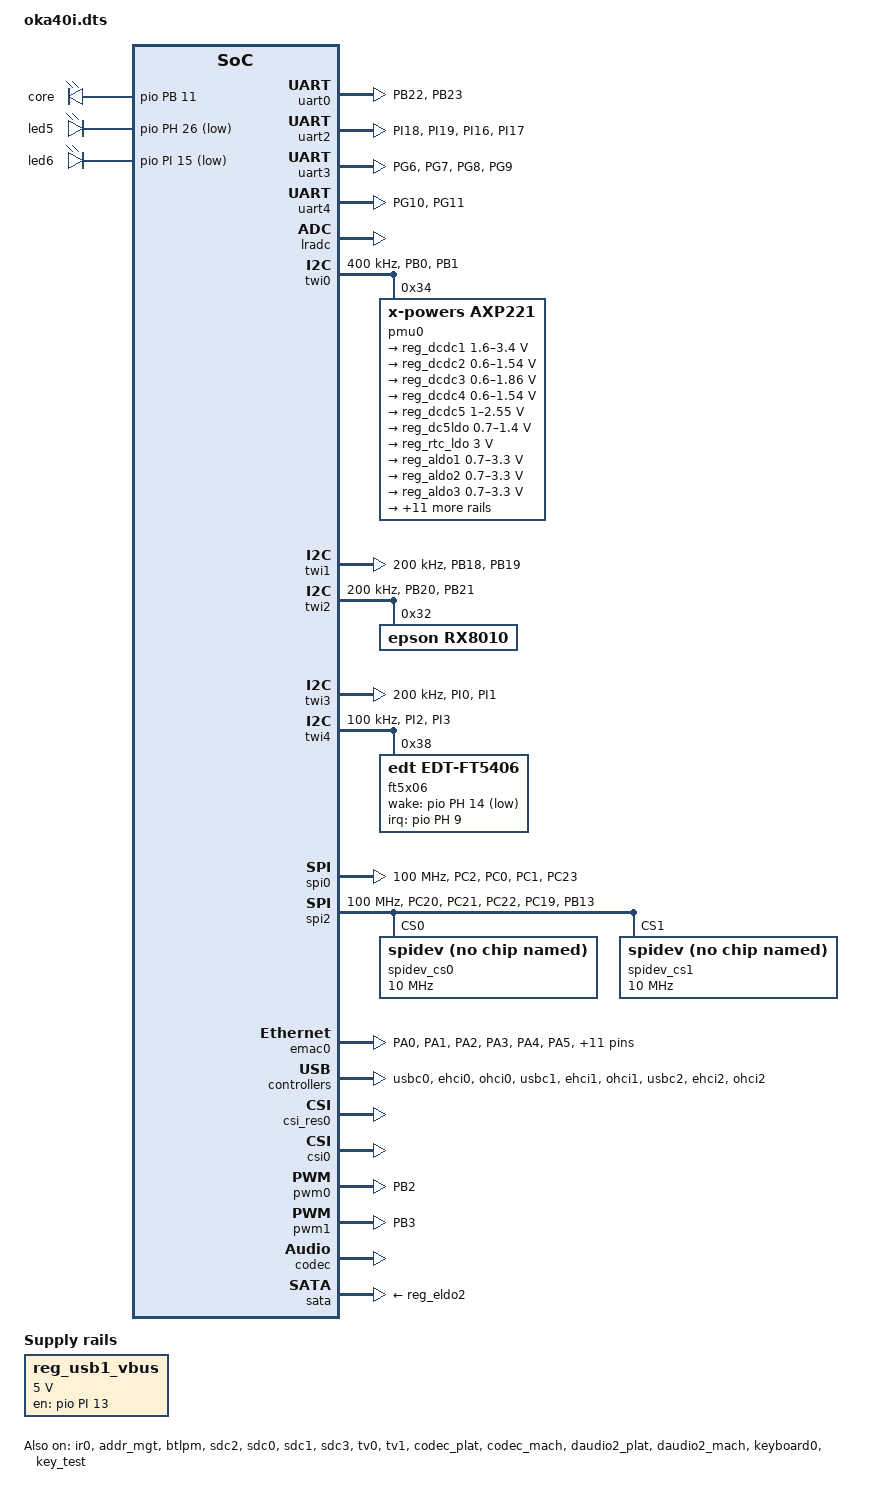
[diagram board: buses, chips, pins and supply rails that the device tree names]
/*
 * Allwinner Technology CO., Ltd. sun8iw11p1 soc board.
 *
 */

/dts-v1/;

#include <dt-bindings/gpio/sun4i-gpio.h>

#include "sun8iw11p1.dtsi"

/{
	aliases {
		pmu0 = &pmu0;
		standby_param = &standby_param; 
	};

	soc@1c00000 {
		card0_boot_para@2 {
		/* Avoid dtc compiling warnings. */
		reg = <0x0 0x2 0x0 0x0>;
		device_type = "card0_boot_para";
		card_ctrl = <0x0>;
		card_high_speed = <0x1>;
		card_line = <0x4>;
		pinctrl-0 = <&sdc0_pins_uboot>;
		};

		card2_boot_para@3 {
			/* Avoid dtc compiling warnings. */
			reg = <0x0 0x3 0x0 0x0>;
			device_type = "card2_boot_para";
			card_ctrl = <0x2>;
			card_high_speed = <0x1>;
			card_line = <0x8>;
			pinctrl-0 = <&sdc2_pins_uboot>;
			sdc_ex_dly_used = <0x2>;
			sdc_io_1v8 = <0x1>;
			sdc_type = "tm4";
		};

		platform@1 {
			eraseflag   = <1>;
			next_work   = <3>;
			debug_mode  = <1>;
		};

		keyboard0:keyboard {
			compatible = "allwinner,keyboard_2000mv";
			reg = <0x0 0x01c24400 0x0 0x400>;
			interrupts = <GIC_SPI 31 IRQ_TYPE_NONE>;
			status = "okay";
			key_cnt = <3>;
			key1 = <590 114>;
			key2 = <890 28>;
			key3 = <2160 102>;
		};

		
		key_test:key_test {
			compatible = "allwinner,key_test";
			reg = <0x0 0x01c24400 0x0 0x400>;
			interrupts = <GIC_SPI 31 IRQ_TYPE_NONE>;
			status = "okay";
			key_cnt = <3>;
			key1 = <590 114>;
			key2 = <890 28>;
			key3 = <2160 102>;
		};


		leds {
			compatible = "gpio-leds";
			status = "okay";
			core {
				label = "core";
				gpios = <&pio PB 11 GPIO_ACTIVE_HIGH>; 
				default-state = "on"; 
				linux,default-trigger = "heartbeat";
			};

			led5 {
				label = "led5";
				gpios = <&pio PH 26 GPIO_ACTIVE_LOW>; 
				default-state = "off"; 
				linux,default-trigger = "gpio";
			};

			led6 {
				label = "led6";
				gpios = <&pio PI 15 GPIO_ACTIVE_LOW>; 
				default-state = "off"; 
				linux,default-trigger = "gpio";
			};
		};
	};

	standby_param: standby_param {
		vdd-cpu = <0x00000002>;
		vdd-sys = <0x00000004>;
		vcc-pll = <0x00000000>;
		osc24m-on = <0x1>;
	};

	reg_usb1_vbus: usb1-vbus {
		compatible = "regulator-fixed";
		gpio = <&pio PI 13 GPIO_ACTIVE_HIGH>;
		regulator-name = "usb1-vbus";
		regulator-min-microvolt = <5000000>;
		regulator-max-microvolt = <5000000>;
		regulator-enable-ramp-delay = <1000>;
		enable-active-high;
	};

};
&pio {
	lcd0_pins_a: lcd0@0 {
		pins = "PD0", "PD1", "PD2", "PD3", "PD4", "PD5", "PD6", "PD7", "PD8", "PD9", "PD10", "PD11", "PD12", "PD13", "PD14", "PD15", "PD16", "PD17", "PD18", "PD19", "PD20", "PD21", "PD22", "PD23", "PD24", "PD25", "PD26", "PD27"; 
		function = "lcd0";
		drvie-strength = <30>;
	};

	lcd0_pins_b: lcd0@1 {
		pins = "PD0", "PD1", "PD2", "PD3", "PD4", "PD5", "PD6", "PD7", "PD8", "PD9", "PD10", "PD11", "PD12", "PD13", "PD14", "PD15", "PD16", "PD17", "PD18", "PD19", "PD20", "PD21", "PD22", "PD23", "PD24", "PD25", "PD26", "PD27"; 
		function = "gpio_in";
	};

	uart0_pins_a: uart0_pins@0 {
		pins = "PB22", "PB23";
		function = "uart0";
	};

	uart0_pins_b: uart0_pins@1 {
		pins = "PB22", "PB23";
		function = "gpio_in";
	};
	uart1_pins_a: uart1_pins@0 {
		pins = "PA10", "PA11", "PA12", "PA13",
					 "PA14", "PA15", "PA16", "PA17";
		function = "uart1";
	};

	uart1_pins_b: uart1_pins@1 {
		pins = "PA10", "PA11", "PA12", "PA13",
					 "PA14", "PA15", "PA16", "PA17";
		function = "gpio_in";
	};

	uart2_pins_a: uart2_pins@0 {
		pins = "PI18", "PI19", "PI16", "PI17";
		function = "uart2";
	};

	uart2_pins_b: uart2_pins@1 {
		pins = "PI18", "PI19", "PI16", "PI17";
		function = "gpio_in";
	};

	uart3_pins_a: uart3_pins@0 {
		pins = "PG6", "PG7", "PG8", "PG9";
		function = "uart3";
	};

	uart3_pins_b: uart3_pins@1 {
		pins = "PG6", "PG7", "PG8", "PG9";
		function = "gpio_in";
	};

	uart4_pins_a: uart4_pins@0 {
		pins = "PG10", "PG11";
		function = "uart4";
	};

	uart4_pins_b: uart4_pins@1 {
		pins = "PG10", "PG11";
		function = "gpio_in";
	};

	uart5_pins_a: uart5_pins@0 {
		pins = "PH6", "PH7";
		function = "uart5";
	};

	uart5_pins_b: uart5_pins@1 {
		pins = "PH6", "PH7";
		function = "gpio_in";
	};

	uart6_pins_a: uart6_pins@0 {
		pins = "PA12", "PA13";
		function = "uart6";
	};

	uart6_pins_b: uart6_pins@1 {
		pins = "PA12", "PA13";
		function = "gpio_in";
	};

	uart7_pins_a: uart7_pins@0 {
		pins ="PI20", "PI21" ;
		function = "uart7";
	};

	uart7_pins_b: uart7_pins@1 {
		pins ="PI20", "PI21" ;
		function = "gpio_in";
	};

	spi0_pins_a: spi0@0 {
		pins = "PC2", "PC0", "PC1";     /*CLK  MOSI  MISO*/
		function = "spi0";
		muxsel = <3>;
		drive-strength = <10>;
	};

	spi0_pins_cs0: spi0@1 {
		pins = "PC23";    /*CS0*/
		function = "spi0";
		muxsel = <3>;
		drive-strength = <10>;
		bias-pull-up;   /* only CS should be pulled up */
	};

	spi0_pins_c: spi0@3 {
		pins = "PC2", "PC0", "PC1", "PC23";
		function = "gpio_in";
		muxsel = <0>;
		drive-strength = <10>;
	};

	spi1_pins_a: spi1@0 {
		pins = "PA1", "PA2", "PA3";     /*CLK  MOSI  MISO*/
		function = "spi1";
		muxsel = <3>;
		drive-strength = <10>;
	};

	spi1_pins_cs: spi1@1 {
		pins = "PA0";    /*CS0*/
		function = "spi1";
		muxsel = <3>;
		drive-strength = <10>;
		bias-pull-up;   /* only CS should be pulled up */
	};

	spi2_pins_a: spi2@0 {
		pins = "PC20", "PC21", "PC22";     /*CLK  MOSI  MISO*/
		function = "spi2";
		muxsel = <3>;
		drive-strength = <10>;
	};

	spi2_pins_cs0: spi2@1 {
		pins = "PC19";    /*CS0*/
		function = "spi2";
		muxsel = <3>;
		drive-strength = <10>;
		bias-pull-up;   /* only CS should be pulled up */
	};

	spi2_pins_cs1: spi2@2 {
		pins = "PB13";    /*CS0*/
		function = "spi2";
		muxsel = <2>;
		drive-strength = <10>;
		bias-pull-up;   /* only CS should be pulled up */
	};

	spi2_pins_c: spi2@3 {
		pins = "PC19", "PC20", "PC21", "PC22", "PB13";
		function = "gpio_in";
		muxsel = <0>;
		drive-strength = <10>;
	};

	sdc0_pins_uboot: sdc0_uboot@0 {
		pins = "PF0", "PF1", "PF2", "PF3","PF4","PF5";
		function = "sdc0";
		muxsel = <3>;
		bias-pull-up;
		drive-strength = <10>;
	};

	sdc2_pins_uboot: sdc2_uboot@0 {
		pins = "PC5", "PC6","PC7", "PC8", "PC9","PC10","PC11","PC12","PC13","PC14","PC15","PC24";
		function = "sdc2";
		muxsel = <3>;
		bias-pull-up;
		drive-strength = <10>;
	};

	sdc0_pins_a: sdc0@0 {
	                    pins = "PF0", "PF1", "PF2",
	                           "PF3", "PF4", "PF5";
	                    function = "sdc0";
	                    drive-strength = <30>;
	                    bias-pull-up;
	            };

	sdc0_pins_b: sdc0@1 {
	        pins = "PF0", "PF1", "PF2",
	               "PF3", "PF4", "PF5";
	        function = "sdc0";
	        drive-strength = <30>;
	        bias-pull-up;
	};

	sdc0_pins_c: sdc0@2 {
	        pins = "PF0", "PF1", "PF2",
	               "PF3", "PF4", "PF5";
	        function = "gpio_in";
	};

	/* TODO: add jtag pin */
	sdc0_pins_d: sdc0@3 {
	        pins = "PF2", "PF4";
	        function = "uart0";
	        drive-strength = <10>;
	        bias-pull-up;
	};

	sdc0_pins_e: sdc0@4 {
	        pins = "PF0", "PF1", "PF3",
	                "PF5";
	        function = "jtag";
	        drive-strength = <10>;
	        bias-pull-up;
	};

	sdc1_pins_a: sdc1@0 {
		pins = "PG1", "PG0", "PG2", "PG3", "PG4", "PG5";
		function = "sdc1";
		drive-strength = <30>;
		bias-pull-up;
	};

	sdc1_pins_b: sdc1@1 {
		pins = "PG1", "PG0", "PG2", "PG3", "PG4", "PG5";
		function = "gpio_in";
		bias-pull-up;
	};

	sdc2_pins_a: sdc2@0 {
		pins = "PC5", "PC6","PC7", "PC8", "PC9","PC10","PC11","PC12","PC13","PC14","PC15","PC24";
		function = "sdc2";
		drive-strength = <30>;
		bias-pull-up;
	};

	sdc2_pins_b: sdc2@1 {
		pins = "PC5", "PC6","PC7", "PC8", "PC9","PC10","PC11","PC12","PC13","PC14","PC15","PC24";
		function = "gpio_in";
		bias-pull-up;
	};

	sdc2_pins_c: sdc2@2 {
		allwinner,pins = "PC5";
		allwinner,function = "sdc2";
		drive-strength = <30>;
		bias-pull-down;
	};

	sdc3_pins_a: sdc3@0 {
		pins = "PI4", "PI5","PI6", "PI7", "PI8","PI9";
		function = "sdc3";
		drive-strength = <30>;
		bias-pull-up;
	};

	sdc3_pins_b: sdc3@1 {
		pins = "PI4", "PI5","PI6", "PI7", "PI8","PI9";
		function = "io_disabled";
		drive-strength = <30>;
		bias-pull-up;
	};

	gmac_pins_a: gmac@0 {
		allwinner,pins = "PA0", "PA1", "PA2", "PA3",
				"PA4", "PA5", "PA6", "PA7",
				"PA8", "PA9", "PA10", "PA11",
				"PA11", "PA12", "PA13", "PA14",
				"PA15", "PA16";
		allwinner,function = "gmac0";
		allwinner,muxsel = <5>;
		allwinner,drive = <3>;
		allwinner,pull = <0>;
	};

	emac_pins_a: emac@0 {
		allwinner,pins = "PA0", "PA1", "PA2", "PA3",
				"PA4", "PA5", "PA6", "PA7",
				"PA8", "PA9", "PA10", "PA11",
				"PA12", "PA13", "PA14",
				"PA15", "PA16";
		allwinner,function = "emac0";
		allwinner,muxsel = <3>;
		allwinner,drive = <3>;
		allwinner,pull = <0>;
	};

	pwm0_pin_a: pwm0@0 {
		pins = "PB2";
		function = "pwm0";
		drive-strength = <10>;
		bias-pull-up;
	};

	pwm0_pin_b: pwm0@1 {
		pins = "PB2";
		function = "gpio_in";
		bias-disable;
	};

	pwm1_pin_a: pwm1@0 {
		pins = "PB3";
		function = "pwm1";
		drive-strength = <10>;
		bias-pull-up;
	};

	pwm1_pin_b: pwm1@1 {
		pins = "PB3";
		function = "gpio_in";
		bias-disable;
	};

	twi0_pins_a: twi0@0 {
		pins = "PB0", "PB1";
		function = "twi0";
		drive-strength = <10>;
		bias-pull-up;
	};

	twi0_pins_b: twi0@1 {
		pins = "PB0", "PB1";
		function = "gpio_in";
	};

	twi1_pins_a: twi1@0 {
		pins = "PB18", "PB19";
		function = "twi1";
		drive-strength = <10>;
		bias-pull-up;
	};

	twi1_pins_b: twi1@1 {
		pins = "PB18", "PB19";
		function = "gpio_in";
	};

	twi2_pins_a: twi2@0 {
		pins = "PB20", "PB21";
		function = "twi2";
		drive-strength = <10>;
		bias-pull-up;
	};

	twi2_pins_b: twi2@1 {
		pins = "PB20", "PB21";
		function = "gpio_in";
	};

	twi3_pins_a: twi3@0 {
		pins = "PI0", "PI1";
		function = "twi3";
		drive-strength = <10>;
		bias-pull-up;
	};

	twi3_pins_b: twi3@1 {
		pins = "PI0", "PI1";
		function = "gpio_in";
	};

	twi4_pins_a: twi4@0 {
		pins = "PI2", "PI3";
		function = "twi4";
		drive-strength = <10>;
		bias-pull-up;
	};

	twi4_pins_b: twi4@1 {
		pins = "PI2", "PI3";
		function = "gpio_in";
	};

	spdif_pins_a: spdif@0 {
		pins = "PB3", "PB12", "PB13";
		function = "spdif0";
		drive-strength = <20>;
		bias-disable;
	};

	spdif_pins_b: spdif_sleep@0 {
		pins = "PB3", "PB12", "PB13";
		function = "io_disabled";
		drive-strength = <20>;
		bias-disable;
	};

	daudio0_pins_a: daudio0@0 {
		pins = "PB5", "PB6", "PB7", "PB8",
		       "PB9", "PB10", "PB11", "PB12";
		function = "i2s0";
		drive-strength = <20>;
		bias-disable;
	};

	daudio0_pins_b: daudio0_sleep@0 {
		pins = "PB5", "PB6", "PB7", "PB8",
		       "PB9", "PB10", "PB11", "PB12";
		function = "io_disabled";
		drive-strength = <20>;
		bias-disable;
	};

	daudio1_pins_a: daudio1@0 {
		pins = "PA9", "PA14", "PA15",
		       "PA16", "PA17";
		function = "i2s1";
		drive-strength = <20>;
		bias-disable;
	};

	daudio1_pins_b: daudio1_sleep@0 {
		pins = "PA9", "PA14", "PA15",
		       "PA16", "PA17";
		function = "io_disabled";
		drive-strength = <20>;
		bias-disable;
	};

	ir0_pins_a: ir0@0 {
		pins = "PB4";
		function = "ir0";
		drive-strength = <10>;
		bias-pull-up;
	};

	ir0_pins_b: ir0@1 {
		pins = "PB4";
		function = "gpio_in";
		bias-disable;
	};

	ir1_pins_a: ir1@0 {
		pins = "PB23";
		function = "ir1";
		drive-strength = <10>;
		bias-pull-up;
	};

	ir1_pins_b: ir1@1 {
		pins = "PB23";
		function = "gpio_in";
		bias-disable;
	};
};

&uart0 {
	pinctrl-names = "default", "sleep";
	pinctrl-0 = <&uart0_pins_a>;
	pinctrl-1 = <&uart0_pins_b>;
	status = "okay";
};

&uart1 {
	pinctrl-names = "default", "sleep";
	pinctrl-0 = <&uart1_pins_a>;
	pinctrl-1 = <&uart1_pins_b>;
	status = "disabled";
};

&uart2 {
	pinctrl-names = "default", "sleep";
	pinctrl-0 = <&uart2_pins_a>;
	pinctrl-1 = <&uart2_pins_b>;
	status = "okay";
};

&uart3 {
	pinctrl-names = "default", "sleep";
	pinctrl-0 = <&uart3_pins_a>;
	pinctrl-1 = <&uart3_pins_b>;
	status = "okay";
};

&uart4 {
	pinctrl-names = "default", "sleep";
	pinctrl-0 = <&uart4_pins_a>;
	pinctrl-1 = <&uart4_pins_b>;
	status = "okay";
};

&uart5 {
	pinctrl-names = "default", "sleep";
	pinctrl-0 = <&uart5_pins_a>;
	pinctrl-1 = <&uart5_pins_b>;
	rs485-enable = <0>;
	rs485-mode = <0>;   /* defalut 0:rx 1:tx */
/*	rs485-mode-pin = <&pio PH 8 GPIO_ACTIVE_LOW>; */
	status = "disabled";
};

&uart6 {
	pinctrl-names = "default", "sleep";
	pinctrl-0 = <&uart6_pins_a>;
	pinctrl-1 = <&uart6_pins_b>;
	status = "disabled";
};

&uart7 {
	pinctrl-names = "default", "sleep";
	pinctrl-0 = <&uart7_pins_a>;
	pinctrl-1 = <&uart7_pins_b>;
	status = "disabled";
};

&lradc{
	status = "okay";
	key_cnt = <5>;
	key0 = <190 115>;
	key1 = <390 114>;
	key2 = <600 139>;
	key3 = <800 28>;
	key4 = <980 102>;
	wakeup-source;
};

&ir0 {
	pinctrl-names = "default", "sleep";
	pinctrl-0 = <&ir0_pins_a>;
	pinctrl-1 = <&ir0_pins_b>;
	status = "okay";
};

&ir1 {
	pinctrl-names = "default", "sleep";
	pinctrl-0 = <&ir1_pins_a>;
	pinctrl-1 = <&ir1_pins_b>;
	status = "disabled";
};

&twi0 {
	clock-frequency = <400000>;
	pinctrl-0 = <&twi0_pins_a>;
	pinctrl-1 = <&twi0_pins_b>;
	pinctrl-names = "default", "sleep";
	no_suspend = <1>;
	status = "okay";
	pmu0: pmu@34 {
		compatible = "x-powers,axp221";
		reg = <0x34>;
		status = "okay";
		interrupts = <0 IRQ_TYPE_LEVEL_LOW>;
		interrupt-parent = <&nmi_intc>;
		x-powers,gpio-vbus-en;
		pmu_reset = <0>;
		pmu_irq_wakeup = <1>;
		pmu_hot_shutdown = <1>;

		wakeup-source;

		powerkey0: powerkey@0 {
			status = "okay";
			compatible = "x-powers,axp2101-pek";
			pmu_powkey_off_time = <6000>;
			pmu_powkey_off_func = <0>;
			pmu_powkey_off_en = <1>;
			pmu_powkey_long_time = <1500>;
			pmu_powkey_on_time = <1000>;
			wakeup_rising;
			wakeup_falling;
		};

		usb_power_supply: usb_power_supply {
			compatible = "x-powers,axp22x-usb-power-supply";
			status = "okay";

			pmu_usbpc_vol = <4400>;
			pmu_usbpc_cur = <500>;
			pmu_usbad_vol = <4000>;
			pmu_usbad_cur = <2500>;
			pmu_usb_typec_used = <0>; 
			wakeup_usb_in;
			wakeup_usb_out;
		};

		ac_power_supply: ac-power-supply {
			compatible = "x-powers,axp22x-ac-power-supply";
			status = "okay";

			pmu_ac_vol = <4000>;
			pmu_ac_cur = <3000>;

			wakeup_ac_in;
			wakeup_ac_out;
		};

		bat_power_supply: bat_power_supply {
			compatible = "x-powers,axp22x-bat-power-supply";
			status = "okay";

			pmu_bat_unused = <1>;
			pmu_chg_ic_temp = <0>;
			pmu_battery_rdc= <100>;
			pmu_battery_cap = <4000>;
			pmu_runtime_chgcur = <300>;
			pmu_suspend_chgcur = <1000>;
			pmu_shutdown_chgcur = <1500>;
			pmu_init_chgvol = <4200>;
			pmu_battery_warning_level1 = <15>;
			pmu_battery_warning_level2 = <0>;
			pmu_chgled_func = <0>;
			pmu_chgled_type = <0>;
			pmu_bat_para1 = <0>;
			pmu_bat_para2 = <0>;
			pmu_bat_para3 = <0>;
			pmu_bat_para4 = <0>;
			pmu_bat_para5 = <0>;
			pmu_bat_para6 = <0>;
			pmu_bat_para7 = <0>;
			pmu_bat_para8 = <0>;
			pmu_bat_para9 = <5>;
			pmu_bat_para10 = <8>;
			pmu_bat_para11 = <9>;
			pmu_bat_para12 = <10>;
			pmu_bat_para13 = <13>;
			pmu_bat_para14 = <16>;
			pmu_bat_para15 = <20>;
			pmu_bat_para16 = <33>;
			pmu_bat_para17 = <41>;
			pmu_bat_para18 = <46>;
			pmu_bat_para19 = <50>;
			pmu_bat_para20 = <53>;
			pmu_bat_para21 = <57>;
			pmu_bat_para22 = <61>;
			pmu_bat_para23 = <67>;
			pmu_bat_para24 = <73>;
			pmu_bat_para25 = <78>;
			pmu_bat_para26 = <84>;
			pmu_bat_para27 = <88>;
			pmu_bat_para28 = <92>;
			pmu_bat_para29 = <93>;
			pmu_bat_para30 = <94>;
			pmu_bat_para31 = <95>;
			pmu_bat_para32 = <100>;

			pmu_bat_temp_enable = <0>;
			pmu_bat_charge_ltf = <2261>;
			pmu_bat_charge_htf = <388>;
			pmu_bat_shutdown_ltf = <3200>;
			pmu_bat_shutdown_htf = <237>;
			pmu_bat_temp_para1 = <7466>;
			pmu_bat_temp_para2 = <4480>;
			pmu_bat_temp_para3 = <3518>;
			pmu_bat_temp_para4 = <2786>;
			pmu_bat_temp_para5 = <2223>;
			pmu_bat_temp_para6 = <1788>;
			pmu_bat_temp_para7 = <1448>;
			pmu_bat_temp_para8 = <969>;
			pmu_bat_temp_para9 = <664>;
			pmu_bat_temp_para10 = <466>;
			pmu_bat_temp_para11 = <393>;
			pmu_bat_temp_para12 = <333>;
			pmu_bat_temp_para13 = <283>;
			pmu_bat_temp_para14 = <242>;
			pmu_bat_temp_para15 = <179>;
			pmu_bat_temp_para16 = <134>;

			wakeup_bat_out;
			/* wakeup_bat_in; */
			/* wakeup_bat_charging; */
			/* wakeup_bat_charge_over; */
			/* wakeup_low_warning1; */
			/* wakeup_low_warning2; */
			/* wakeup_bat_untemp_work; */
			/* wakeup_bat_ovtemp_work; */
			/* wakeup_bat_untemp_chg; */
			/* wakeup_bat_ovtemp_chg; */
		};

		regulator0: regulators@0 {
			reg_dcdc1: dcdc1 {
				regulator-name = "axp22x-dcdc1";
				regulator-min-microvolt = <1600000>;
				regulator-max-microvolt = <3400000>;
				regulator-ramp-delay = <160>;
				regulator-enable-ramp-delay = <1000>;
				regulator-boot-on;
				regulator-always-on;
			};
			reg_dcdc2: dcdc2 {
				regulator-name = "axp22x-dcdc2";
				regulator-min-microvolt = <600000>;
				regulator-max-microvolt = <1540000>;
				regulator-final-delay-us = <1000>;
				regulator-ramp-delay = <160>;
				regulator-enable-ramp-delay = <1000>;
				regulator-boot-on;
				regulator-always-on;
			};
			reg_dcdc3: dcdc3 {
				regulator-name = "axp22x-dcdc3";
				regulator-min-microvolt = <600000>;
				regulator-max-microvolt = <1860000>;
				regulator-ramp-delay = <160>;
				regulator-enable-ramp-delay = <1000>;
				regulator-boot-on;
				regulator-always-on;
			};
			reg_dcdc4: dcdc4 {
				regulator-name = "axp22x-dcdc4";
				regulator-min-microvolt = <600000>;
				regulator-max-microvolt = <1540000>;
				regulator-ramp-delay = <160>;
				regulator-enable-ramp-delay = <1000>;
/*				regulator-boot-on;
				regulator-always-on; */
			};
			reg_dcdc5: dcdc5 {
				regulator-name = "axp22x-dcdc5";
				regulator-min-microvolt = <1000000>;
				regulator-max-microvolt = <2550000>;
				regulator-ramp-delay = <160>;
				regulator-enable-ramp-delay = <1000>;
				regulator-boot-on;
				regulator-always-on;
			};
			reg_dc5ldo: dc5ldo {
				regulator-name = "axp22x-dc5ldo";
				regulator-min-microvolt = <700000>;
				regulator-max-microvolt = <1400000>;
				regulator-ramp-delay = <160>;
				regulator-enable-ramp-delay = <1000>;
/*				regulator-boot-on;
				regulator-always-on; */
			};
			reg_rtc_ldo: rtc_ldo {
				/* RTC_LDO is a fixed, always-on regulator */
				regulator-name = "axp22x-rtc_ldo";
				regulator-min-microvolt = <3000000>;
				regulator-max-microvolt = <3000000>;
				regulator-boot-on;
				regulator-always-on;
			};
			reg_aldo1: aldo1 {
				regulator-name = "axp22x-aldo1";
				regulator-min-microvolt = <700000>;
				regulator-max-microvolt = <3300000>;
				regulator-enable-ramp-delay = <1000>;
			};
			reg_aldo2: aldo2 {
				regulator-name = "axp22x-aldo2";
				regulator-min-microvolt = <700000>;
				regulator-max-microvolt = <3300000>;
				regulator-enable-ramp-delay = <1000>;
				regulator-boot-on;
				regulator-always-on;
			};
			reg_aldo3: aldo3 {
				regulator-name = "axp22x-aldo3";
				regulator-min-microvolt = <700000>;
				regulator-max-microvolt = <3300000>;
				regulator-enable-ramp-delay = <1000>;
				regulator-always-on;
			};
			reg_dldo1: dldo1 {
				regulator-name = "axp22x-dldo1";
				regulator-min-microvolt = <700000>;
				regulator-max-microvolt = <3300000>;
				regulator-enable-ramp-delay = <1000>;
				regulator-always-on;
			};
			reg_dldo2: dldo2 {
				regulator-name = "axp22x-dldo2";
				regulator-min-microvolt = <700000>;
				regulator-max-microvolt = <3300000>;
				regulator-enable-ramp-delay = <1000>;
			};
			reg_dldo3: dldo3 {
				regulator-name = "axp22x-dldo3";
				regulator-min-microvolt = <700000>;
				regulator-max-microvolt = <3300000>;
				regulator-enable-ramp-delay = <1000>;
				regulator-always-on;
				regulator-boot-on;
			};
			reg_dldo4: dldo4 {
				regulator-name = "axp22x-dldo4";
				regulator-min-microvolt = <700000>;
				regulator-max-microvolt = <3300000>;
				regulator-enable-ramp-delay = <1000>;
				regulator-always-on;
				regulator-boot-on;
			};
			reg_eldo1: eldo1 {
				regulator-name = "axp22x-eldo1";
				regulator-min-microvolt = <700000>;
				regulator-max-microvolt = <3300000>;
				regulator-enable-ramp-delay = <1000>;
			};
			reg_eldo2: eldo2 {
				regulator-name = "axp22x-eldo2";
				regulator-min-microvolt = <700000>;
				regulator-max-microvolt = <3300000>;
				regulator-enable-ramp-delay = <1000>;
			};
			reg_eldo3: eldo3 {
				regulator-name = "axp22x-eldo3";
				regulator-min-microvolt = <700000>;
				regulator-max-microvolt = <3300000>;
				regulator-enable-ramp-delay = <1000>;
			};
			reg_ldo_io0: ldo_io0 {
				regulator-name = "axp22x-ldo_io0";
				regulator-min-microvolt = <700000>;
				regulator-max-microvolt = <3300000>;
				regulator-enable-ramp-delay = <1000>;
			};
			reg_ldo_io1: ldo_io1 {
				regulator-name = "axp22x-ldo_io1";
				regulator-min-microvolt = <700000>;
				regulator-max-microvolt = <3300000>;
				regulator-enable-ramp-delay = <1000>;
			};
			reg_dc1sw: dc1sw {
				regulator-name = "axp22x-dc1sw";
				regulator-enable-ramp-delay = <1000>;
				regulator-always-on;
				regulator-boot-on;
			};
			reg_drivevbus: drivevbus {
				regulator-name = "axp22x-drivevbus";
				regulator-enable-ramp-delay = <1000>;
			};
		};

		virtual-dcdc1 {
			compatible = "xpower-vregulator,dcdc1";
			dcdc1-supply = <&reg_dcdc1>;
		};
		virtual-dcdc2 {
			compatible = "xpower-vregulator,dcdc2";
			dcdc2-supply = <&reg_dcdc2>;
		};
		virtual-dcdc3 {
			compatible = "xpower-vregulator,dcdc3";
			dcdc3-supply = <&reg_dcdc3>;
		};
		virtual-dcdc4 {
			compatible = "xpower-vregulator,dcdc4";
			dcdc4-supply = <&reg_dcdc4>;
		};
		virtual-dcdc5 {
			compatible = "xpower-vregulator,dcdc5";
			dcdc5-supply = <&reg_dcdc5>;
		};
		virtual-rtc_ldo {
			compatible = "xpower-vregulator,rtc_ldo";
			rtc_ldo-supply = <&reg_rtc_ldo>;
		};
		virtual-aldo1 {
			compatible = "xpower-vregulator,aldo1";
			aldo1-supply = <&reg_aldo1>;
		};
		virtual-aldo2 {
			compatible = "xpower-vregulator,aldo2";
			aldo2-supply = <&reg_aldo2>;
		};
		virtual-aldo3 {
			compatible = "xpower-vregulator,aldo3";
			aldo3-supply = <&reg_aldo3>;
		};
		virtual-dldo1 {
			compatible = "xpower-vregulator,dldo1";
			dldo1-supply = <&reg_dldo1>;
		};
		virtual-dldo2 {
			compatible = "xpower-vregulator,dldo2";
			dldo2-supply = <&reg_dldo2>;
		};
		virtual-dldo3 {
			compatible = "xpower-vregulator,dldo3";
			dldo3-supply = <&reg_dldo3>;
		};
		virtual-dldo4 {
			compatible = "xpower-vregulator,dldo4";
			dldo4-supply = <&reg_dldo4>;
		};
		virtual-eldo1 {
			compatible = "xpower-vregulator,eldo1";
			eldo1-supply = <&reg_eldo1>;
		};
		virtual-eldo2 {
			compatible = "xpower-vregulator,eldo2";
			eldo2-supply = <&reg_eldo2>;
		};
		virtual-eldo3 {
			compatible = "xpower-vregulator,eldo3";
			eldo3-supply = <&reg_eldo3>;
		};
		virtual-ldo_io0 {
			compatible = "xpower-vregulator,ldo_io0";
			ldo_io0-supply = <&reg_ldo_io0>;
		};
		virtual-ldo_io1 {
			compatible = "xpower-vregulator,ldo_io1";
			ldo_io1-supply = <&reg_ldo_io1>;
		};
		virtual-dc5ldo {
			compatible = "xpower-vregulator,dc5ldo";
			dc5ldo-supply = <&reg_dc5ldo>;
		};
		virtual-dc1sw {
			compatible = "xpower-vregulator,dc1sw";
			dc1sw-supply = <&reg_dc1sw>;
		};
		axp_gpio0: axp_gpio@0 {
			gpio-controller;
			#size-cells = <0>;
			#gpio-cells = <6>;
			compatible = "x-powers,axp22x-gpio";
			status = "okay";
		};
	};
};

&twi1 {
	clock-frequency = <200000>;
	pinctrl-0 = <&twi1_pins_a>;
	pinctrl-1 = <&twi1_pins_b>;
	pinctrl-names = "default", "sleep";
	status = "okay";
};

&twi2 {
	clock-frequency = <200000>;
	pinctrl-0 = <&twi2_pins_a>;
	pinctrl-1 = <&twi2_pins_b>;
	pinctrl-names = "default", "sleep";
	status = "okay";

	rx8010: rtc@32 {
		compatible = "epson,rx8010";
		reg = <0x32>;
	};
};

&twi3 {
	clock-frequency = <200000>;
	pinctrl-0 = <&twi3_pins_a>;
	pinctrl-1 = <&twi3_pins_b>;
	pinctrl-names = "default", "sleep";
	status = "okay";
/*
	ctp@0 {
		compatible = "allwinner,goodix";
		reg = <0x14>;
		device_type = "ctp";
		status = "okay";
		ctp_name = "gt9xxnew_ts";
		ctp_twi_id = <0x3>;
		ctp_twi_addr = <0x14>;
		ctp_screen_max_x = <1024>;
		ctp_screen_max_y = <600>;
		ctp_revert_x_flag = <0>;
		ctp_revert_y_flag = <1>;
		ctp_exchange_x_y_flag = <1>;
		ctp_int_port = <&pio PH 15 GPIO_ACTIVE_LOW>;
		//ctp_power_io = <&pio PI 20 GPIO_ACTIVE_LOW>;
		ctp_wakeup = <&pio PH 14 GPIO_ACTIVE_LOW>;
		//ctp_power_ldo       = "vcc-ctp"
		ctp-supply = <&reg_ldo_io0>;
		ctp_power_ldo_vol = <3300>;
	}; */ 
};

&twi4 {
	clock-frequency = <100000>;
	pinctrl-0 = <&twi4_pins_a>;
	pinctrl-1 = <&twi4_pins_b>;
	pinctrl-names = "default", "sleep";
	status = "okay";

	ft5x06: touchscreen@38 {
		compatible = "edt,edt-ft5406";
		reg = <0x38>;
		interrupt-parent = <&pio>;
		interrupts = <PH 9 IRQ_TYPE_LEVEL_LOW>;
		wake = <&pio PH 14 GPIO_ACTIVE_LOW>;
		touchscreen-size-x = <600>;
		touchscreen-size-y = <1024>;
		touchscreen-swapped-x-y;
	};
};

&rtp {
	allwinner,tp-sensitive-adjust = <0x2>;
	allwinner,filter-type = <0x3>;
	status = "disabled";
};

&spi0 {
	clock-frequency = <100000000>;
	pinctrl-names = "default", "sleep";
	pinctrl-0 = <&spi0_pins_a &spi0_pins_cs0>;
	pinctrl-1 = <&spi0_pins_c>;
	spi_slave_mode = <0>;
	spi0_cs_number = <1>;
	spi0_cs_bitmap = <1>;
	status = "okay";

	spidev0@0 {
		compatible = "rohm,dh2228fv";
		spi-max-frequency = <10000000>;
		reg = <0x0>;
		spi-rx-bus-width = <0x1>;
		spi-tx-bus-width = <0x1>;
		status = "disabled";
	};
};

&spi1 {
	clock-frequency = <100000000>;
	pinctrl-names = "default";
	pinctrl-0 = <&spi1_pins_a &spi1_pins_cs>;
	spi_slave_mode = <0>;
	status = "disabled";
};

&spi2 {
	clock-frequency = <100000000>;
	pinctrl-names = "default", "sleep";
	pinctrl-0 = <&spi2_pins_a &spi2_pins_cs0 &spi2_pins_cs1>;
	pinctrl-1 = <&spi2_pins_c>;
	spi_slave_mode = <0>;
	status = "okay";

	spidev_cs0@0 {
		compatible = "rohm,dh2228fv";
		spi-max-frequency = <10000000>;
		reg = <0x0>;
		spi-rx-bus-width = <0x1>;
		spi-tx-bus-width = <0x1>;
		status = "okay";
	};

	spidev_cs1@1 {
		compatible = "rohm,dh2228fv";
		spi-max-frequency = <10000000>;
		reg = <0x1>;
		spi-rx-bus-width = <0x1>;
		spi-tx-bus-width = <0x1>;
		status = "okay";
	};
};

&gmac0 {
	phy-mode = "rgmii";
	pinctrl-names = "default";
	pinctrl-0 = <&gmac_pins_a>;
	tx-delay = <7>;
	rx-delay = <0>;
	sunxi,phy-clk-type = <1>;
	gmac-power0-supply = <&reg_dcdc1>;
	gmac-power1-supply;
	gmac-power2-supply;
	gmac-power0-vol = <3300000>;
	gmac-power1-vol;
	gmac-power2-vol;
	status = "disabled";
};

&emac0 {
	pinctrl-names = "default";
	pinctrl-0     = <&emac_pins_a>;
/*	phy-rst = <&pio PH 27 1 1 1 0>;*/
	status = "okay";
};

&rfkill {
	compatible = "allwinner,sunxi-rfkill";
	chip_en;
	power_en;
	pinctrl-0;
	pinctrl-names;
	status = "disabled";

	/* wlan session */
	wlan {
		compatible    = "allwinner,sunxi-wlan";
		//clocks        = <&rtc_ccu CLK_DCXO24M_OUT>, <&rtc_ccu CLK_OSC32K_OUT>;
		//clock-names   = "dcxo24M-out", "osc32k-out";
		wlan_power    = "axp22x-dldo1";
		wlan_power_vol= <3300000>;
		wlan_busnum   = <0x1>;
		wlan_regon    = <&pio PH 17 GPIO_ACTIVE_HIGH>;
		wlan_hostwake = <&pio PH 18 GPIO_ACTIVE_HIGH>;
		wakeup-source;
	};

	/* bt session */
	bt {
		compatible    = "allwinner,sunxi-bt";
		//clocks        = <&rtc_ccu CLK_DCXO24M_OUT>, <&rtc_ccu CLK_OSC32K_OUT>;
		//clock-names   = "dcxo24M-out", "osc32k-out";
		bt_power      = "axp22x-dldo1";
		bt_power_vol  = <3300000>;
		bt_rst_n      = <&pio PH 15 GPIO_ACTIVE_LOW>;
		status        = "okay";
	};
};

&addr_mgt {
	compatible     = "allwinner,sunxi-addr_mgt";
	type_addr_wifi = <0x0>;
	type_addr_bt   = <0x0>;
	type_addr_eth  = <0x0>;
	status         = "okay";
};

&btlpm {
	compatible  = "allwinner,sunxi-btlpm";
	uart_index  = <0x3>;
	bt_wake     = <&pio PH 16 GPIO_ACTIVE_HIGH>;
	bt_hostwake = <&pio PH 10 GPIO_ACTIVE_HIGH>;
	wakeup-source;
	status      = "okay";
};

&sdc2 {
	max-frequency = <50000000>;
	no-sdio;
	no-sd;
	/*mmc-ddr-1_8v;*/
	/*mmc-hs200-1_8v;*/
	/*mmc-hs400-1_8v;*/
	sunxi-dis-signal-vol-sw;
	cap-mmc-highspeed;
	cap-cmd23;
	status = "okay";
};

&sdc0 {
	cd-gpios = <&pio PI 11 (GPIO_ACTIVE_LOW | GPIO_PULL_UP)>;
	no-sdio;
        no-mmc;
	sunxi-dis-signal-vol-sw;
	cap-sd-highspeed;
	status = "okay";
};

&sdc1 {
	bus-width = <4>;
	cap-sd-highspeed;
	sd-uhs-sdr25;
	sd-uhs-sdr50;
	sd-uhs-ddr50;
	sd-uhs-sdr104;
	cap-sdio-irq;
	keep-power-in-suspend;
	ignore-pm-notify;
	sunxi-dis-signal-vol-sw;
	max-frequency = <150000000>;
	no-sd;
	no-mmc;
	status = "okay";
};

&sdc3 {
	cd-gpios = <&pio PI 10 (GPIO_ACTIVE_LOW | GPIO_PULL_UP)>;
	no-sdio;
	no-mmc;
	sunxi-dis-signal-vol-sw;
	cap-sd-highspeed;
	status = "okay";
};

&usbc0 {
	device_type = "usbc0";
	usb_port_type = <0x2>;
	usb_detect_type = <0x1>;
	usb_detect_mode = <0x0>;
	usb_id_gpio = <&pio PH 21 GPIO_ACTIVE_HIGH>;
	enable-active-high;
	usb_det_vbus_gpio = <&pio PH 17 GPIO_ACTIVE_HIGH>;
	enable-active-high;
	usb_regulator_io = "nocare";
	usbc-supply = <&reg_dcdc1>;
	usb_wakeup_suspend = <0x0>;
	usb_luns = <0x3>;
	usb_serial_unique = <0>;
	usb_serial_number = "20080411";
	status = "okay";
};

&udc {
	det_vbus_supply = <&usb_power_supply>;
	udc-supply = <&reg_dcdc1>;
};

&ehci0 {
	drvvbus-supply = <&reg_usb1_vbus>;
	hci-supply = <&reg_dcdc1>;
	status = "okay";
};

&ohci0 {
	drvvbus-supply = <&reg_usb1_vbus>;
	hci-supply = <&reg_dcdc1>;
	status = "okay";
};

&usbc1 {
	device_type = "usbc1";
	usb_regulator_io = "nocare";
	usb_wakeup_suspend = <0x0>;
	status = "okay";
};

&ehci1 {
	status = "okay";
};

&ohci1 {
	status = "okay";
};

&usbc2 {
	device_type = "usbc2";
	usb_regulator_io = "nocare";
	usb_wakeup_suspend = <0x1>;
	wakeup-source;
	status = "okay";
};

&ehci2 {
	status = "okay";
};

&ohci2 {
	status = "okay";
};

&drm {
	boot_disp = <0>;
	boot_fb0 = "";

	//connector0_output_type = <3>;
	//connector0_output_mode = "CEA-016-1920x1080";
	connector0_output_type = <1>;
	connector0_output_mode = "";

	connector1_output_type = <0>;
	connector1_output_mode = "";
};

&csi_cci0 {
	status = "disabled";
};
&csi_res0 {
	status = "okay";
};
&csi_res1 {
	status = "disabled";
};
&csi0 {
	device_type= "csi0";
	cci_sel			= <0>;
	csi_sel			= <0>;
	mipi_sel		= <0>;
	isp_sel			= <0>;
	csi0_sensor_list	= <0>;
	csi0_mck 		= <>; /*PE1 .mul_sel = 1, .pull = 0, .drv_level = 1, .data = 0*/
	status = "okay";
	csi0_dev0:dev@0{
		csi0_dev0_mname         = "ov5640";
		csi0_dev0_twi_addr      = <0x78>;
		csi0_dev0_twi_id      	= <1>;
		csi0_dev0_pos			= "front";
		csi0_dev0_isp_used      = <0>;
		csi0_dev0_fmt           = <0>;
		csi0_dev0_stby_mode     = <0>;
		csi0_dev0_vflip         = <0>;
		csi0_dev0_hflip         = <0>;
		csi0_dev0_iovdd-supply  = <&reg_eldo3>;
		csi0_dev0_iovdd_vol     = <2800000>;
		csi0_dev0_avdd-supply   = <&reg_eldo3>;
		csi0_dev0_avdd_vol      = <2800000>;
		csi0_dev0_dvdd-supply   = <&reg_eldo1>;
		csi0_dev0_dvdd_vol      = <1500000>;
		csi0_dev0_afvdd-supply  = <&reg_eldo3>;
		csi0_dev0_afvdd_vol     = <2800000>;
		csi0_dev0_power_en	= <>;
		csi0_dev0_reset 	= <&pio PB 6 1 0 1 0>; /*PC20 .mul_sel = 1, .pull = 0, .drv_level = 1, .data = 0*/
		csi0_dev0_pwdn 		= <&pio PB 7 1 0 1 0>; /*PH16 .mul_sel = 1, .pull = 0, .drv_level = 1, .data = 0*/
		csi0_dev0_flash_en	= <>;
		csi0_dev0_flash_mode	= <>;
		csi0_dev0_af_pwdn	= <>;
		csi0_dev0_act_used      = <0>;
		csi0_dev0_act_name      = "ad5820_act";
		csi0_dev0_act_slave	= <0x18>;
		status	= "okay";
	};
};
&csi1 {
	device_type= "csi1";
	cci_sel			= <0>;
	csi_sel			= <1>;
	mipi_sel		= <0>;
	isp_sel			= <0>;
	csi1_sensor_list	= <0>;
	csi1_mck 		= <>; /*PG1 .mul_sel = 1, .pull = 0, .drv_level = 1, .data = 0*/
	status = "disabled";
	csi1_dev0:dev@0{
		csi1_dev0_mname         = "ov5640";
		csi1_dev0_twi_addr      = <0x78>;
		csi1_dev0_twi_id      	= <1>;
		csi1_dev0_pos		= "front";
		csi1_dev0_isp_used      = <1>;
		csi1_dev0_fmt           = <0>;
		csi1_dev0_stby_mode     = <0>;
		csi1_dev0_vflip         = <0>;
		csi1_dev0_hflip         = <0>;
		csi1_dev0_iovdd         = "iovdd-csi";
		csi1_dev0_iovdd_vol     = <2800000>;
		csi1_dev0_avdd          = "avdd-csi";
		csi1_dev0_avdd_vol      = <2800000>;
		csi1_dev0_dvdd          = "dvdd-csi-18";
		csi1_dev0_dvdd_vol      = <1500000>;
		csi1_dev0_afvdd         = "afvcc-csi";
		csi1_dev0_afvdd_vol     = <2800000>;
		csi1_dev0_power_en	= <>;
		csi1_dev0_reset 	= <>; /*PH14 .mul_sel = 1, .pull = 0, .drv_level = 1, .data = 0*/
		csi1_dev0_pwdn 		= <>; /*PH17 .mul_sel = 1, .pull = 0, .drv_level = 1, .data = 0*/
		csi1_dev0_flash_en	= <>;
		csi1_dev0_flash_mode	= <>;
		csi1_dev0_af_pwdn	= <>;
		csi1_dev0_act_used      = <0>;
		csi1_dev0_act_name      = "ad5820_act";
		csi1_dev0_act_slave	= <0x18>;
		status	= "disabled";
	};
};

&disp {
	disp_init_enable         = <1>;
	disp_mode                = <0>;

	screen0_output_type      = <1>;
	screen0_output_mode      = <4>;
	screen0_output_format    = <0>;
	screen0_output_bits      = <0>;
	screen0_output_eotf      = <4>;
	screen0_output_cs        = <257>;
	screen0_output_dvi_hdmi  = <2>;
	screen0_output_range     = <2>;
	screen0_output_scan      = <0>;
	screen0_output_aspect_ratio = <8>;

	screen1_output_type      = <1>;
	screen1_output_mode      = <4>;
	screen1_output_format    = <1>;
	screen1_output_bits      = <0>;
	screen1_output_eotf      = <4>;
	screen1_output_cs        = <257>;
	screen1_output_dvi_hdmi  = <2>;
	screen1_output_range     = <2>;
	screen1_output_scan      = <0>;
	screen1_output_aspect_ratio = <8>;
	dev0_output_type         = <1>;
	dev0_output_mode         = <4>;
	dev0_screen_id           = <0>;
	dev0_do_hpd              = <0>;

	dev1_output_type         = <1>;
	dev1_output_mode         = <4>;
	dev1_screen_id           = <1>;
	dev1_do_hpd              = <1>;

	def_output_dev           = <0>;
	hdmi_mode_check          = <1>;

	fb_format                = <0>;
	fb_num                   = <1>;
	/*<disp channel layer zorder>*/
	fb0_map                  = <0 1 0 0>;
	fb0_width                = <1024>;
	fb0_height               = <600>;
	/*<disp channel layer zorder>*/
	fb1_map                  = <0 2 0 16>;
	fb1_width                = <300>;
	fb1_height               = <300>;
	/*<disp channel layer zorder>*/
	fb2_map                  = <1 0 0 16>;
	fb2_width                = <1024>;
	fb2_height               = <600>;
	/*<disp channel layer zorder>*/
	fb3_map                  = <1 1 0 16>;
	fb3_width                = <300>;
	fb3_height               = <300>;

	chn_cfg_mode             = <1>;

	disp_para_zone           = <1>;

	/* VCC-LVDS  */
	// vcc-lcd-supply = <&reg_vcc_lcd>;
	dc1sw-supply = <&reg_dc1sw>;
};

&lcd0 {
	base_config_start   = <1>;
	lcd_used            = <1>;

	lcd_driver_name     = "default_mipi";
	lcd_backlight       = <255>;
	lcd_if              = <4>;
	lcd_x               = <1024>;
	lcd_y               = <600>;
	lcd_dclk_freq       = <52>;
	// lcd_dclk_freq       = <66>;
	lcd_pwm_used        = <1>;
	lcd_pwm_ch          = <1>;
	lcd_pwm_freq        = <20000>;
	lcd_pwm_pol         = <0>;
	lcd_pwm_max_limit   = <255>;
	lcd_hbp             = <105>;
	lcd_ht              = <1354>;
	lcd_hspw            = <10>;
	lcd_vbp             = <45>;
	lcd_vt              = <646>;
	lcd_vspw            = <1>;
	lcd_lvds_if         = <0>;
	lcd_lvds_colordepth = <0>;
	lcd_lvds_mode       = <0>;
	lcd_frm             = <1>;
	lcd_hv_clk_phase    = <0>;
	lcd_hv_sync_polarity= <0>;
	lcd_gamma_en        = <0>;
	lcd_bright_curve_en = <0>;
	lcd_cmap_en         = <0>;

	lcd_dsi_if          = <0>;
	lcd_dsi_lane        = <4>;
	lcd_dsi_format      = <0>;
	lcd_dsi_te          = <0>;
	lcd_dsi_eotp        = <0>;

	deu_mode            = <0>;
	lcdgamma4iep        = <22>;
	smart_color         = <90>;

	// lcd_bl_en           = port:PI21<1><0><default><1>
	lcd_gpio_0           = <&pio PH 11 GPIO_ACTIVE_HIGH>;
	lcd_power           = "dc1sw";

	pinctrl-0 = <>;
	pinctrl-1 = <>;
	base_config_end     = <1>;
};

#if 0
&lcd0 {
	base_config_start   = <1>;
	lcd_used            = <1>;

	lcd_driver_name     = "kd080d24";
	lcd_bl_0_percent    = <0>;
	lcd_bl_40_percent   = <23>;
	lcd_bl_100_percent  = <100>;
	lcd_backlight       = <150>;

	lcd_if              = <4>;
	lcd_x               = <800>;
	lcd_y               = <1280>;
	lcd_width           = <800>;
	lcd_height          = <1280>;
	lcd_dclk_freq       = <75>;

	lcd_pwm_used        = <1>;
	lcd_pwm_ch          = <0>;
	lcd_pwm_freq        = <50000>;
	lcd_pwm_pol         = <1>;
	lcd_pwm_max_limit	= <255>;

	lcd_hbp             = <28>;
	lcd_ht              = <960>;
	lcd_hspw            = <4>;
	lcd_vbp             = <12>;
	lcd_vt              = <1300>;
	lcd_vspw            = <4>;

	lcd_frm             = <0>;
	lcd_io_phase        = <0>;
	lcd_hv_clk_phase    = <0>;
	lcd_hv_sync_polarity= <0>;
	lcd_gamma_en        = <0>;
	lcd_bright_curve_en = <0>;
	lcd_cmap_en         = <0>;

	deu_mode            = <0>;
	lcdgamma4iep        = <22>;
	smart_color         = <90>;

	lcd_dsi_if		= <2>;
	lcd_dsi_lane		= <4>;
	lcd_dsi_format		= <0>;
	lcd_dsi_te		= <0>;
	lcd_dsi_eotp        = <0>;

	lcd_bl_en           = <&pio PI 21 GPIO_ACTIVE_HIGH>;
	lcd_gpio_0          = <&pio PB 10 GPIO_ACTIVE_HIGH>;

	lcd_power           = "dc1sw";

	base_config_end     = <1>;
};
#endif

&tv0 {
	interface       = <1>;
	dac_type0       = <0>;
	dac_src0        = <2>;
	aldo1-supply    = <&reg_aldo1>;
	tv_power        = "aldo1";
	status          = "okay";
};

&tv1 {
	interface       = <1>;
	dac_type0       = <0>;
	dac_src0        = <3>;
	aldo1-supply    = <&reg_aldo1>;
	tv_power        = "aldo1";
	status          = "okay";
};


&tvd {
	tvd_sw           = <1>;
	tvd_interface    = <0>;
	tvd_format       = <0>;
	tvd_system       = <1>;
	tvd_row          = <2>;
	tvd_column       = <2>;
	tvd_channel0_en  = <1>;
	tvd_channel1_en  = <2>;
	tvd_channel2_en  = <3>;
	tvd_channel3_en  = <4>;
	tvd_power0       = "aldo1";
	aldo1-supply  = <&reg_aldo1>;
};

&tvd0 {
	tvd_used = <1>;
	tvd_if = <0>;
	agc_auto_enable  = <1>;
	agc_manual_value = <64>;
	cagc_enable      = <1>;
	fliter_used		 = <1>;
};

&tvd1 {
	tvd_used = <1>;
	tvd_if = <0>;
	agc_auto_enable  = <1>;
	agc_manual_value = <64>;
	cagc_enable      = <1>;
	fliter_used		 = <1>;
};

&tvd2{
	tvd_used = <1>;
	tvd_if = <0>;
	agc_auto_enable  = <1>;
	agc_manual_value = <64>;
	cagc_enable      = <1>;
	fliter_used		 = <1>;
};

&tvd3 {
	tvd_used = <1>;
	tvd_if = <0>;
	agc_auto_enable  = <1>;
	agc_manual_value = <64>;
	cagc_enable      = <1>;
	fliter_used		 = <1>;
};

&cpu0 {
	cpu-supply = <&reg_dcdc2>;
};

&gpu {
	dvfs_status = <1>;
	temp_ctrl_status  = <1>;
	scene_ctrl_status = <1>;
	operating-points = <
	/* KHz   uV */
	384000 1100000
	312000 1100000
	240000 1100000
	144000 1100000
	>;
};

&pwm0 {
	pinctrl-names = "active", "sleep";
	pinctrl-0 = <&pwm0_pin_a>;
	pinctrl-1 = <&pwm0_pin_b>;
	status = "okay";
};

&pwm1 {
	pinctrl-names = "active", "sleep";
	pinctrl-0 = <&pwm1_pin_a>;
	pinctrl-1 = <&pwm1_pin_b>;
	status = "okay";
};

&codec {
	avcc-external;
	avcc-supply	= <&reg_aldo3>;
	avcc-vol	= <3000000>;
	dvcc-external; 
	dvcc-supply	= <&reg_aldo3>;
	dvcc-vol	= <3000000>;  

	dac-vol			= <63>;		/* default value:63 range:0->63 */
	adc-gain		= <3>;		/* default value:3  range:0->7 */
	mic1-gain		= <4>;		/* default value:4  range:0->7 */
	mic2-gain		= <4>;		/* default value:4  range:0->7 */
	mic1-to-omix-gain	= <3>;		/* default value:3  range:0->7 */
	mic2-to-omix-gain	= <3>;		/* default value:3  range:0->7 */
	fmin-to-omix-gain	= <3>;		/* default value:3  range:0->7 */
	linein-to-omix-gain	= <3>;		/* default value:3  range:0->7 */
	lineinl-to-romix-gain	= <3>;		/* default value:3  range:0->7 */
	lineinr-to-lomix-gain	= <3>;		/* default value:3  range:0->7 */
	phoneout-gain		= <3>;		/* default value:3  range:0->7 */
	hpout-gain		= <63>;		/* default value:59 range:0->63 */

	pa-pin-max	= <1>;
	pa-pin-0	= <&pio PB 5 GPIO_ACTIVE_LOW>;
/*	pa-pin-level-0	= <1>;  */
	pa-pin-msleep-0	= <1>;
	/* pa-pin-1	= <&pio PB 3 GPIO_ACTIVE_HIGH>; */
	/* pa-pin-level-1	= <1>; */
	/* pa-pin-msleep-1	= <0>; */
	status = "okay";
};

&codec_plat {
	status = "okay";
};

&codec_mach {
	status = "okay";
	soundcard-mach,cpu {
		sound-dai = <&codec_plat>;
	};
	soundcard-mach,codec {
		sound-dai = <&codec>;
	};
};

&spdif_plat {
	pinctrl_used;
	pinctrl-names = "default","sleep";
	pinctrl-0 = <&spdif_pins_a>;
	pinctrl-1 = <&spdif_pins_b>;
	tx-hub-en;
	status = "disabled";
};

&spdif_mach {
	status = "disabled";
};

&daudio0_plat {
	tdm-num = <0>;
	tx-pin = <0>;
	rx-pin = <0>;

	/* pinctrl-used; */
	/* pinctrl-names = "default","sleep"; */
	/* pinctrl-0 = <&daudio0_pins_a>; */
	/* pinctrl-1 = <&daudio0_pins_b>; */

	tx-hub-en;
	status = "disabled";
};

&daudio0_mach {
	soundcard-mach,format = "i2s";
	soundcard-mach,frame-master = <&daudio0_cpu>;
	soundcard-mach,bitclock-master = <&daudio0_cpu>;
	/* soundcard-mach,frame-inversion; */
	/* soundcard-mach,bitclock-inversion; */
	soundcard-mach,slot-num = <2>;
	soundcard-mach,slot-width = <32>;
	status = "disabled";
	daudio0_cpu: soundcard-mach,cpu {
		sound-dai = <&daudio0_plat>;
		/* note: pll freq = 24.576M or 22.5792M * pll-fs */
		soundcard-mach,pll-fs = <1>;
		soundcard-mach,mclk-fp;
		soundcard-mach,mclk-fs = <0>;
	};
	daudio0_codec: soundcard-mach,codec {
	};
};

&daudio1_plat {
	tdm-num = <0>;
	tx-pin = <0>;
	rx-pin = <0>;
	/* pinctrl-used; */
	/* pinctrl-names = "default","sleep"; */
	/* pinctrl-0 = <&daudio1_pins_a>; */
	/* pinctrl-1 = <&daudio1_pins_b>; */
	tx-hub-en;
	status = "disabled";
};

&daudio1_mach {
	soundcard-mach,format = "i2s";
	soundcard-mach,frame-master = <&daudio1_cpu>;
	soundcard-mach,bitclock-master = <&daudio1_cpu>;
	/* soundcard-mach,frame-inversion; */
	/* soundcard-mach,bitclock-inversion; */
	soundcard-mach,slot-num = <2>;
	soundcard-mach,slot-width = <32>;
	status = "disabled";
	daudio1_cpu: soundcard-mach,cpu {
		sound-dai = <&daudio1_plat>;
		/* note: pll freq = 24.576M or 22.5792M * pll-fs */
		soundcard-mach,pll-fs = <1>;
		soundcard-mach,mclk-fp;
		soundcard-mach,mclk-fs = <0>;
	};
	daudio1_codec: soundcard-mach,codec {
	};
};

&daudio2_plat {
	tdm-num		= <0>;
	tx-pin		= <0 1 2 3>;
	rx-pin		= <0>;
	dai-type        = "hdmi";
	/* pinctrl-used; */
	/* pinctrl-names = "default","sleep"; */
	/* pinctrl-0 = <&daudio2_pins_a>; */
	/* pinctrl-1 = <&daudio2_pins_b>; */
	tx-hub-en;
	status = "okay";
};

&daudio2_mach {
	soundcard-mach,format = "i2s";
	soundcard-mach,frame-master = <&daudio2_cpu>;
	soundcard-mach,bitclock-master = <&daudio2_cpu>;
	/* soundcard-mach,frame-inversion; */
	/* soundcard-mach,bitclock-inversion; */
	soundcard-mach,slot-num = <2>;
	soundcard-mach,slot-width = <32>;
	status = "okay";
	daudio2_cpu: soundcard-mach,cpu {
		sound-dai = <&daudio2_plat>;
		/* note: pll freq = 24.576M or 22.5792M * pll-fs */
		soundcard-mach,pll-fs = <1>;
		soundcard-mach,mclk-fp;
		soundcard-mach,mclk-fs = <0>;
	};
	daudio2_codec: soundcard-mach,codec {
	};
};

&sata {
	ahci-supply = <&reg_dldo4>;
	phy-supply = <&reg_eldo2>;
	status = "okay";
};
